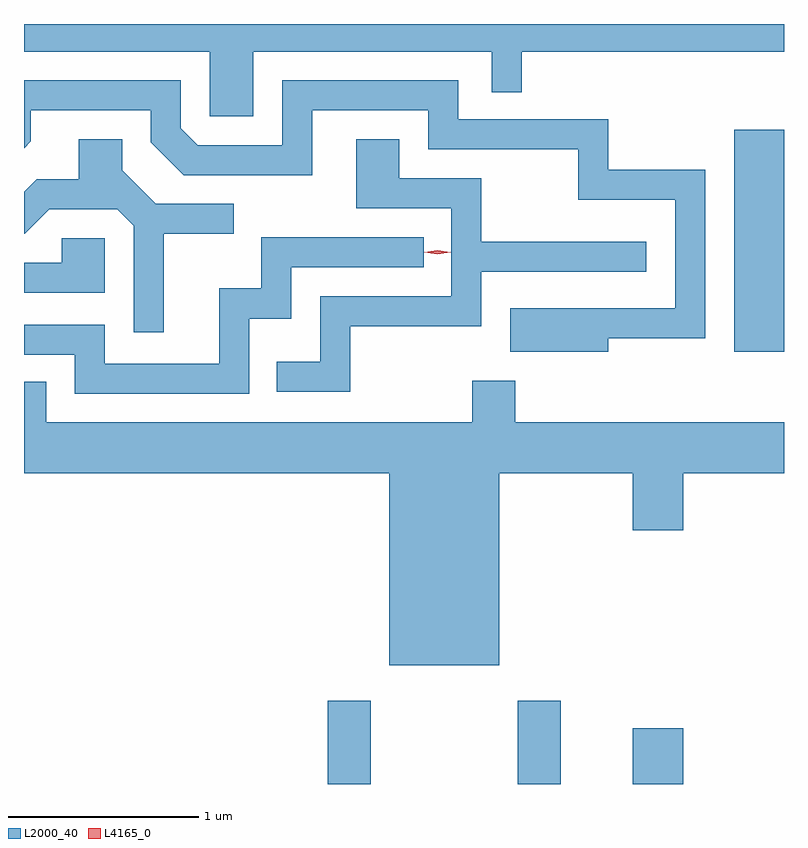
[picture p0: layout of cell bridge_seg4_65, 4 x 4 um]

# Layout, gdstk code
import gdstk
lib = gdstk.Library(unit=1e-6, precision=1e-09)
def R(c, l, rs):  # rectangles x0, y0, x1, y1
    for r in rs: c.add(gdstk.rectangle(r[:2], r[2:], *l))
def P(c, l, *ps):  # polygons
    for p in ps: c.add(gdstk.Polygon(p, *l))
L2000_40 = (2000, 40)
L4165_0 = (4165, 0)

bridge_seg4_65 = lib.new_cell('bridge_seg4_65')
R(bridge_seg4_65, L2000_40, [(1632.051,1368.581,1632.279,1369.019), (1633.051,1368.581,1633.279,1369.019), (1633.656,1368.581,1633.924,1368.874), (1634.191,1370.856,1634.453,1372.024)])
P(bridge_seg4_65, L2000_40, [(1631.659,1372.436),(1632.916,1372.436),(1632.916,1372.223),(1633.074,1372.223),(1633.074,1372.436),(1634.453,1372.436),(1634.453,1372.581),(1630.453,1372.581),(1630.453,1372.436),(1631.431,1372.436),(1631.431,1372.096),(1631.659,1372.096)],
  [(1633.529,1370.926),(1634.039,1370.926),(1634.039,1371.814),(1633.529,1371.814),(1633.529,1372.079),(1632.739,1372.079),(1632.739,1372.284),(1631.811,1372.284),(1631.811,1371.944),(1631.367,1371.944),(1631.279,1372.032),(1631.279,1372.284),(1630.453,1372.284),(1630.453,1371.928),(1630.489,1371.964),(1630.489,1372.126),(1631.121,1372.126),(1631.121,1371.959),(1631.294,1371.786),(1631.969,1371.786),(1631.969,1372.126),(1632.581,1372.126),(1632.581,1371.921),(1633.371,1371.921),(1633.371,1371.656),(1633.881,1371.656),(1633.881,1371.084),(1633.011,1371.084),(1633.011,1370.856),(1633.529,1370.856)],
  [(1631.189,1371.476),(1631.558,1371.476),(1631.558,1371.634),(1631.147,1371.634),(1630.969,1371.812),(1630.969,1371.974),(1630.741,1371.974),(1630.741,1371.764),(1630.519,1371.764),(1630.453,1371.698),(1630.453,1371.476),(1630.457,1371.476),(1630.587,1371.606),(1630.944,1371.606),(1631.031,1371.519),(1631.031,1370.958),(1631.189,1370.958)],
  [(1632.169,1370.991),(1632.859,1370.991),(1632.859,1371.276),(1633.728,1371.276),(1633.728,1371.434),(1632.859,1371.434),(1632.859,1371.769),(1632.429,1371.769),(1632.429,1371.974),(1632.201,1371.974),(1632.201,1371.611),(1632.701,1371.611),(1632.701,1371.149),(1632.011,1371.149),(1632.011,1370.804),(1631.783,1370.804),(1631.783,1370.646),(1632.169,1370.646)],
  [(1631.639,1371.031),(1631.859,1371.031),(1631.859,1371.301),(1632.558,1371.301),(1632.558,1371.459),(1631.701,1371.459),(1631.701,1371.189),(1631.481,1371.189),(1631.481,1370.794),(1630.879,1370.794),(1630.879,1370.999),(1630.453,1370.999),(1630.453,1370.841),(1630.721,1370.841),(1630.721,1370.636),(1631.639,1370.636)],
  [(1630.879,1371.454),(1630.651,1371.454),(1630.651,1371.324),(1630.453,1371.324),(1630.453,1371.166),(1630.879,1371.166)],
  [(1632.954,1370.216),(1633.656,1370.216),(1633.656,1369.916),(1633.924,1369.916),(1633.924,1370.216),(1634.453,1370.216),(1634.453,1370.484),(1633.039,1370.484),(1633.039,1370.704),(1632.811,1370.704),(1632.811,1370.484),(1630.569,1370.484),(1630.569,1370.698),(1630.453,1370.698),(1630.453,1370.216),(1632.376,1370.216),(1632.376,1369.206),(1632.954,1369.206)])
P(bridge_seg4_65, L4165_0, [(1632.628,1371.37),(1632.559,1371.379),(1632.559,1371.38),(1632.559,1371.38),(1632.628,1371.39),(1632.698,1371.38),(1632.698,1371.38),(1632.698,1371.379)])

lib.write_gds('bridge_seg4_65.gds')
